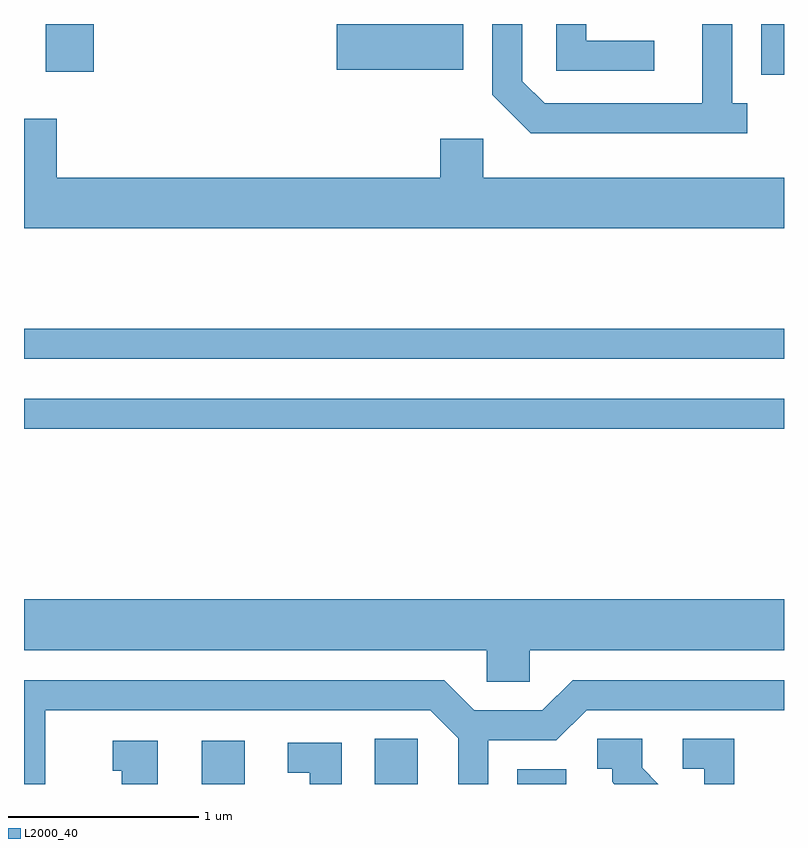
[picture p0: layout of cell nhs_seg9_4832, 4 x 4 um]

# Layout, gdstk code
import gdstk
lib = gdstk.Library(unit=1e-6, precision=1e-09)
def R(c, l, rs):  # rectangles x0, y0, x1, y1
    for r in rs: c.add(gdstk.rectangle(r[:2], r[2:], *l))
def P(c, l, *ps):  # polygons
    for p in ps: c.add(gdstk.Polygon(p, *l))
L2000_40 = (2000, 40)

nhs_seg9_4832 = lib.new_cell('nhs_seg9_4832')
R(nhs_seg9_4832, L2000_40, [(328.546,2004.432,328.774,2004.659), (329.456,2004.432,329.684,2004.669), (330.206,2004.432,330.464,2004.509), (327.611,2006.301,331.611,2006.459), (327.611,2006.671,331.611,2006.829), (331.491,2008.166,331.611,2008.432), (327.726,2008.181,327.979,2008.432), (329.256,2008.191,329.924,2008.432)])
P(nhs_seg9_4832, L2000_40, [(331.418,2008.014),(331.339,2008.014),(331.339,2008.432),(331.181,2008.432),(331.181,2008.014),(330.352,2008.014),(330.234,2008.132),(330.234,2008.432),(330.076,2008.432),(330.076,2008.059),(330.279,2007.856),(331.418,2007.856)],
  [(330.928,2008.344),(330.569,2008.344),(330.569,2008.432),(330.411,2008.432),(330.411,2008.186),(330.928,2008.186)],
  [(331.611,2007.624),(330.029,2007.624),(330.029,2007.829),(329.801,2007.829),(329.801,2007.624),(327.784,2007.624),(327.784,2007.934),(327.611,2007.934),(327.611,2007.356),(331.611,2007.356)],
  [(330.274,2005.136),(331.611,2005.136),(331.611,2005.404),(327.611,2005.404),(327.611,2005.136),(330.046,2005.136),(330.046,2004.971),(330.274,2004.971)],
  [(327.724,2004.821),(329.749,2004.821),(329.896,2004.674),(329.896,2004.432),(330.054,2004.432),(330.054,2004.661),(330.412,2004.661),(330.572,2004.821),(331.611,2004.821),(331.611,2004.979),(330.499,2004.979),(330.339,2004.819),(329.982,2004.819),(329.822,2004.979),(327.611,2004.979),(327.611,2004.432),(327.724,2004.432)],
  [(330.864,2004.517),(330.864,2004.669),(330.628,2004.669),(330.628,2004.511),(330.706,2004.511),(330.706,2004.444),(330.718,2004.432),(330.949,2004.432)],
  [(331.349,2004.669),(331.078,2004.669),(331.078,2004.511),(331.191,2004.511),(331.191,2004.432),(331.349,2004.432)],
  [(328.314,2004.659),(328.078,2004.659),(328.078,2004.501),(328.126,2004.501),(328.126,2004.432),(328.314,2004.432)],
  [(329.284,2004.649),(328.998,2004.649),(328.998,2004.491),(329.116,2004.491),(329.116,2004.432),(329.284,2004.432)])

lib.write_gds('nhs_seg9_4832.gds')
